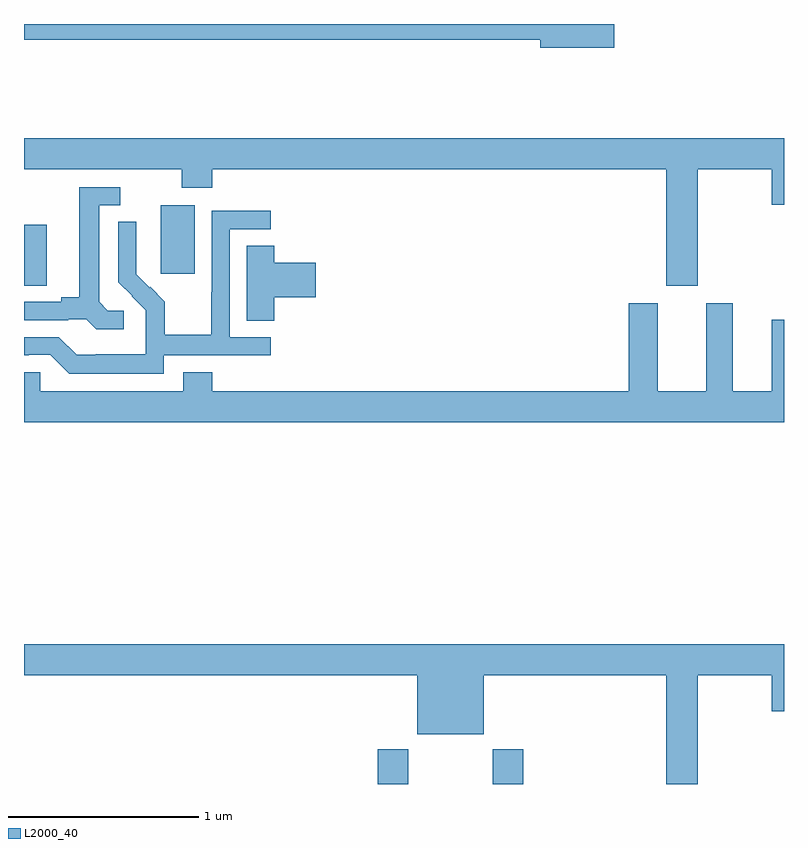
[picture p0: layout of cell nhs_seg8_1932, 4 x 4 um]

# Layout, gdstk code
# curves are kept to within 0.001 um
import gdstk
lib = gdstk.Library(unit=1e-6, precision=1e-09)
def R(c, l, rs):  # rectangles x0, y0, x1, y1
    for r in rs: c.add(gdstk.rectangle(r[:2], r[2:], *l))
def P(c, l, *ps):  # polygons
    for p in ps: c.add(gdstk.Polygon(p, *l))
L2000_40 = (2000, 40)

nhs_seg8_1932 = lib.new_cell('nhs_seg8_1932')
R(nhs_seg8_1932, L2000_40, [(234.863,1143.9,235.023,1144.084), (235.468,1143.9,235.628,1144.084), (233,1146.523,233.119,1146.843), (233.72,1146.585,233.899,1146.946)])
P(nhs_seg8_1932, L2000_40, [(236.107,1147.9),(233,1147.9),(233,1147.816),(235.718,1147.816),(235.718,1147.774),(236.107,1147.774)],
  [(236.545,1147.136),(236.936,1147.136),(236.936,1146.948),(237,1146.948),(237,1147.3),(233,1147.3),(233,1147.136),(233.83,1147.136),(233.83,1147.037),(233.99,1147.037),(233.99,1147.136),(236.381,1147.136),(236.381,1146.522),(236.545,1146.522)],
  [(233.524,1146.39),(233.442,1146.39),(233.395,1146.437),(233.395,1146.945),(233.506,1146.945),(233.506,1147.041),(233.291,1147.041),(233.291,1146.461),(233.195,1146.461),(233.195,1146.438),(233,1146.438),(233,1146.342),(233.234,1146.342),(233.234,1146.345),(233.328,1146.345),(233.38,1146.293),(233.524,1146.293)],
  [(233.736,1146.156),(234.298,1146.156),(234.298,1146.252),(234.084,1146.252),(234.084,1146.819),(234.298,1146.819),(234.298,1146.918),(233.988,1146.918),(233.988,1146.488),(233.986,1146.488),(233.986,1146.265),(233.741,1146.265),(233.741,1146.439),(233.664,1146.516),(233.661,1146.513),(233.591,1146.584),(233.592,1146.86),(233.496,1146.86),(233.496,1146.542),(233.642,1146.394),(233.642,1146.297),(233.64,1146.297),(233.64,1146.163),(233.377,1146.163),(233.377,1146.159),(233.277,1146.159),(233.184,1146.252),(233,1146.252),(233,1146.156),(233.024,1146.156),(233.024,1146.159),(233.139,1146.159),(233.239,1146.059),(233.736,1146.059)],
  [(234.317,1146.461),(234.535,1146.461),(234.535,1146.644),(234.317,1146.644),(234.317,1146.734),(234.173,1146.734),(234.173,1146.337),(234.317,1146.337)],
  [(237,1146.343),(236.936,1146.343),(236.936,1145.968),(236.731,1145.968),(236.731,1146.43),(236.591,1146.43),(236.591,1145.968),(236.335,1145.968),(236.335,1146.43),(236.183,1146.43),(236.183,1145.968),(233.99,1145.968),(233.99,1146.067),(233.837,1146.067),(233.837,1145.968),(233.085,1145.968),(233.085,1146.066),(233,1146.066),(233,1145.804),(237,1145.804)],
  [(236.545,1144.472),(236.936,1144.472),(236.936,1144.284),(237,1144.284),(237,1144.636),(233,1144.636),(233,1144.472),(235.07,1144.472),(235.07,1144.163),(235.42,1144.163),(235.42,1144.472),(236.381,1144.472),(236.381,1143.9),(236.545,1143.9)])

lib.write_gds('nhs_seg8_1932.gds')
